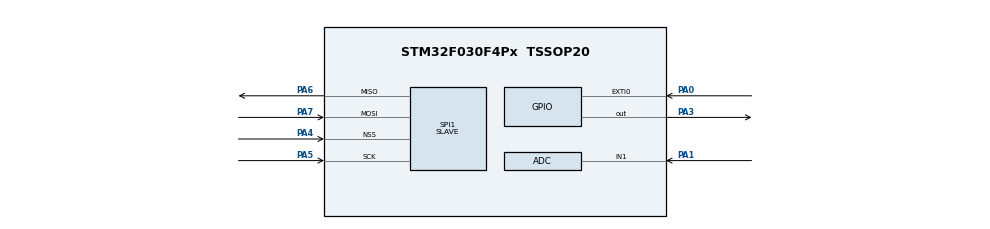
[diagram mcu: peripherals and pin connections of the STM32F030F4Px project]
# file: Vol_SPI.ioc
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ADC.DMAContinuousRequests=ENABLE
ADC.ExternalTrigConv=ADC_EXTERNALTRIGCONV_T1_TRGO
ADC.SamplingTime=ADC_SAMPLETIME_13CYCLES_5
Dma.ADC.0.Direction=DMA_PERIPH_TO_MEMORY
Dma.ADC.0.Instance=DMA1_Channel1
Dma.ADC.0.MemDataAlignment=DMA_MDATAALIGN_HALFWORD
Dma.ADC.0.MemInc=DMA_MINC_ENABLE
Dma.ADC.0.Mode=DMA_CIRCULAR
Dma.ADC.0.PeriphDataAlignment=DMA_PDATAALIGN_HALFWORD
Dma.ADC.0.PeriphInc=DMA_PINC_DISABLE
Dma.ADC.0.Priority=DMA_PRIORITY_LOW
Dma.Request0=ADC
Dma.Request1=SPI1_TX
Dma.Request2=SPI1_RX
Dma.SPI1_RX.2.Direction=DMA_PERIPH_TO_MEMORY
Dma.SPI1_RX.2.Instance=DMA1_Channel2
Dma.SPI1_RX.2.MemDataAlignment=DMA_MDATAALIGN_BYTE
Dma.SPI1_RX.2.MemInc=DMA_MINC_ENABLE
Dma.SPI1_RX.2.Mode=DMA_NORMAL
Dma.SPI1_RX.2.PeriphDataAlignment=DMA_PDATAALIGN_BYTE
Dma.SPI1_RX.2.PeriphInc=DMA_PINC_DISABLE
Dma.SPI1_RX.2.Priority=DMA_PRIORITY_LOW
Dma.SPI1_TX.1.Direction=DMA_MEMORY_TO_PERIPH
Dma.SPI1_TX.1.Instance=DMA1_Channel3
Dma.SPI1_TX.1.MemDataAlignment=DMA_MDATAALIGN_BYTE
Dma.SPI1_TX.1.MemInc=DMA_MINC_ENABLE
Dma.SPI1_TX.1.Mode=DMA_NORMAL
Dma.SPI1_TX.1.PeriphDataAlignment=DMA_PDATAALIGN_BYTE
Dma.SPI1_TX.1.PeriphInc=DMA_PINC_DISABLE
Dma.SPI1_TX.1.Priority=DMA_PRIORITY_LOW
Mcu.Family=STM32F0
Mcu.Name=STM32F030F4Px
Mcu.Package=TSSOP20
NVIC.DMA1_Channel1_IRQn=true\:0\:0\:false\:false\:true\:false\:true
NVIC.DMA1_Channel2_3_IRQn=true\:0\:0\:false\:false\:true\:false\:true
NVIC.EXTI0_1_IRQn=true\:0\:0\:false\:false\:true\:true\:true
NVIC.SPI1_IRQn=true\:0\:0\:false\:false\:true\:true\:true
PA0.GPIO_ModeDefaultEXTI=GPIO_MODE_IT_FALLING
PA0.Signal=GPXTI0
PA1.Mode=IN1
PA1.Signal=ADC_IN1
PA13.Mode=Serial_Wire
PA13.Signal=SYS_SWDIO
PA14.Mode=Serial_Wire
PA14.Signal=SYS_SWCLK
PA3.Signal=GPIO_Output
PA4.Mode=NSS_Signal_Hard_Input
PA4.Signal=SPI1_NSS
PA5.Mode=Full_Duplex_Slave
PA5.Signal=SPI1_SCK
PA6.Mode=Full_Duplex_Slave
PA6.Signal=SPI1_MISO
PA7.Mode=Full_Duplex_Slave
PA7.Signal=SPI1_MOSI
PF0-OSC_IN.Mode=HSE-External-Clock-Source
PF0-OSC_IN.Signal=RCC_OSC_IN
ProjectManager.HeapSize=0x200
ProjectManager.StackSize=0x400
ProjectManager.TargetToolchain=STM32CubeIDE
RCC.SYSCLKSource=RCC_SYSCLKSOURCE_HSE
SPI1.DataSize=SPI_DATASIZE_8BIT
SPI1.Direction=SPI_DIRECTION_2LINES
SPI1.Mode=SPI_MODE_SLAVE
SPI1.VirtualNSS=VM_NSSHARD
SPI1.VirtualType=VM_SLAVE
TIM1.Period=31
TIM1.Prescaler=99
TIM1.TIM_MasterOutputTrigger=TIM_TRGO_UPDATE
TIM1.TIM_MasterSlaveMode=TIM_MASTERSLAVEMODE_ENABLE
VP_TIM1_VS_ClockSourceINT.Mode=Internal
board=custom

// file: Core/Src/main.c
/* USER CODE BEGIN Header */
/**
  ******************************************************************************
  * @file           : main.c
  * @brief          : Main program body
  ******************************************************************************
  * @attention
  *
  * <h2><center>&copy; Copyright (c) 2025 STMicroelectronics.
  * All rights reserved.</center></h2>
  *
  * This software component is licensed by ST under BSD 3-Clause license,
  * the "License"; You may not use this file except in compliance with the
  * License. You may obtain a copy of the License at:
  *                        opensource.org/licenses/BSD-3-Clause
  *
  ******************************************************************************
  */
/* USER CODE END Header */
#include "main.h"

/* USER CODE BEGIN Includes */
#include <stdio.h>
#include <string.h>
#include <stdbool.h>

/* USER CODE END Includes */

/* USER CODE BEGIN PTD */
#define RING_SIZE        640
#define FRAME_SAMPLES   50
#define FRAME_BYTES     (1 + FRAME_SAMPLES * 2)
uint16_t adc_dma_buf[1];
/* ring buffer ADC */
volatile uint16_t ring[RING_SIZE];
volatile uint16_t head = 0;
volatile uint16_t tail = 0;
volatile uint16_t ring_count = 0;

volatile uint8_t spi_idle = 1;
/* SPI buffers (8-bit) */

uint8_t rx[FRAME_BYTES];

uint8_t tx[FRAME_BYTES];

volatile uint32_t ring_overwrite = 0;

/* USER CODE END PTD */

ADC_HandleTypeDef hadc;
DMA_HandleTypeDef hdma_adc;

SPI_HandleTypeDef hspi1;
DMA_HandleTypeDef hdma_spi1_tx;
DMA_HandleTypeDef hdma_spi1_rx;

TIM_HandleTypeDef htim1;

void SystemClock_Config(void);
static void MX_GPIO_Init(void);
static void MX_DMA_Init(void);
static void MX_ADC_Init(void);
static void MX_SPI1_Init(void);
static void MX_TIM1_Init(void);

/* USER CODE BEGIN 0 */
void HAL_GPIO_EXTI_Callback(uint16_t GPIO_Pin)
{
  /* Prevent unused argument(s) compilation warning */
  UNUSED(GPIO_Pin);
  if(GPIO_Pin == GPIO_PIN_0)
  	  {
  	  HAL_ADCEx_Calibration_Start(&hadc);
  	  HAL_ADC_Start_DMA(&hadc, (uint32_t*)adc_dma_buf, 1);
  	  HAL_TIM_Base_Start(&htim1);

  	  }

}

static inline void ring_push(uint16_t sample)
{
    uint16_t next = head + 1;
    if (next >= RING_SIZE) next = 0;

    ring[head] = sample;
    head = next;

    if (ring_count < RING_SIZE) {
        ring_count++;
    } else {
        tail++;
        if (tail >= RING_SIZE) tail = 0;
        ring_overwrite++;
    }
}

static inline bool ring_pop(uint16_t *out)
{
    if (ring_count == 0) return false;
    *out = ring[tail];
    tail++;
    if (tail >= RING_SIZE) tail = 0;
    ring_count--;
    return true;
}

void HAL_ADC_ConvCpltCallback(ADC_HandleTypeDef* hadc){
		ring_push(adc_dma_buf[0]);

}

void HAL_SPI_TxRxCpltCallback(SPI_HandleTypeDef *hspi){
	 uint16_t s;
	 if (ring_pop(&s)) {
		 tx[0] = (uint8_t)(s & 0xFF);
		 tx[1] = (uint8_t)(s >> 8);
	 }
	 else {
		 tx[0] = 0;
		 tx[1] = 0;
	 }
	 HAL_SPI_TransmitReceive_DMA(&hspi1, tx, rx, 2);

}

/* USER CODE END 0 */

int main(void)
{

  /* MCU Configuration--------------------------------------------------------*/

  /* Reset of all peripherals, Initializes the Flash interface and the Systick. */
  HAL_Init();

  /* Configure the system clock */
  SystemClock_Config();

  /* Initialize all configured peripherals */
  MX_GPIO_Init();
  MX_DMA_Init();
  MX_ADC_Init();
  MX_SPI1_Init();
  MX_TIM1_Init();
  /* USER CODE BEGIN 2 */

  tx[0] = 0;

  /* ARM SPI SLAVE ONCE */
  HAL_SPI_TransmitReceive_DMA(&hspi1, tx, rx, 2);

  /* USER CODE END 2 */

  /* Infinite loop */
  while (1)
  {

  }
}

void SystemClock_Config(void)
{
  RCC_OscInitTypeDef RCC_OscInitStruct = {0};
  RCC_ClkInitTypeDef RCC_ClkInitStruct = {0};

  /** Initializes the RCC Oscillators according to the specified parameters
  * in the RCC_OscInitTypeDef structure.
  */
  RCC_OscInitStruct.OscillatorType = RCC_OSCILLATORTYPE_HSI14|RCC_OSCILLATORTYPE_HSE;
  RCC_OscInitStruct.HSEState = RCC_HSE_BYPASS;
  RCC_OscInitStruct.HSI14State = RCC_HSI14_ON;
  RCC_OscInitStruct.HSI14CalibrationValue = 16;
  RCC_OscInitStruct.PLL.PLLState = RCC_PLL_NONE;
  if (HAL_RCC_OscConfig(&RCC_OscInitStruct) != HAL_OK)
  {
    Error_Handler();
  }
  /** Initializes the CPU, AHB and APB buses clocks
  */
  RCC_ClkInitStruct.ClockType = RCC_CLOCKTYPE_HCLK|RCC_CLOCKTYPE_SYSCLK
                              |RCC_CLOCKTYPE_PCLK1;
  RCC_ClkInitStruct.SYSCLKSource = RCC_SYSCLKSOURCE_HSE;
  RCC_ClkInitStruct.AHBCLKDivider = RCC_SYSCLK_DIV1;
  RCC_ClkInitStruct.APB1CLKDivider = RCC_HCLK_DIV1;

  if (HAL_RCC_ClockConfig(&RCC_ClkInitStruct, FLASH_LATENCY_0) != HAL_OK)
  {
    Error_Handler();
  }
}

static void MX_ADC_Init(void)
{

  ADC_ChannelConfTypeDef sConfig = {0};

  /** Configure the global features of the ADC (Clock, Resolution, Data Alignment and number of conversion)
  */
  hadc.Instance = ADC1;
  hadc.Init.ClockPrescaler = ADC_CLOCK_ASYNC_DIV1;
  hadc.Init.Resolution = ADC_RESOLUTION_12B;
  hadc.Init.DataAlign = ADC_DATAALIGN_RIGHT;
  hadc.Init.ScanConvMode = ADC_SCAN_DIRECTION_FORWARD;
  hadc.Init.EOCSelection = ADC_EOC_SINGLE_CONV;
  hadc.Init.LowPowerAutoWait = DISABLE;
  hadc.Init.LowPowerAutoPowerOff = DISABLE;
  hadc.Init.ContinuousConvMode = DISABLE;
  hadc.Init.DiscontinuousConvMode = DISABLE;
  hadc.Init.ExternalTrigConv = ADC_EXTERNALTRIGCONV_T1_TRGO;
  hadc.Init.ExternalTrigConvEdge = ADC_EXTERNALTRIGCONVEDGE_RISING;
  hadc.Init.DMAContinuousRequests = ENABLE;
  hadc.Init.Overrun = ADC_OVR_DATA_PRESERVED;
  if (HAL_ADC_Init(&hadc) != HAL_OK)
  {
    Error_Handler();
  }
  /** Configure for the selected ADC regular channel to be converted.
  */
  sConfig.Channel = ADC_CHANNEL_1;
  sConfig.Rank = ADC_RANK_CHANNEL_NUMBER;
  sConfig.SamplingTime = ADC_SAMPLETIME_13CYCLES_5;
  if (HAL_ADC_ConfigChannel(&hadc, &sConfig) != HAL_OK)
  {
    Error_Handler();
  }

}

static void MX_SPI1_Init(void)
{

  /* SPI1 parameter configuration*/
  hspi1.Instance = SPI1;
  hspi1.Init.Mode = SPI_MODE_SLAVE;
  hspi1.Init.Direction = SPI_DIRECTION_2LINES;
  hspi1.Init.DataSize = SPI_DATASIZE_8BIT;
  hspi1.Init.CLKPolarity = SPI_POLARITY_LOW;
  hspi1.Init.CLKPhase = SPI_PHASE_1EDGE;
  hspi1.Init.NSS = SPI_NSS_HARD_INPUT;
  hspi1.Init.FirstBit = SPI_FIRSTBIT_MSB;
  hspi1.Init.TIMode = SPI_TIMODE_DISABLE;
  hspi1.Init.CRCCalculation = SPI_CRCCALCULATION_DISABLE;
  hspi1.Init.CRCPolynomial = 7;
  hspi1.Init.CRCLength = SPI_CRC_LENGTH_DATASIZE;
  hspi1.Init.NSSPMode = SPI_NSS_PULSE_DISABLE;
  if (HAL_SPI_Init(&hspi1) != HAL_OK)
  {
    Error_Handler();
  }

}

static void MX_TIM1_Init(void)
{

  TIM_ClockConfigTypeDef sClockSourceConfig = {0};
  TIM_MasterConfigTypeDef sMasterConfig = {0};

  htim1.Instance = TIM1;
  htim1.Init.Prescaler = 99;
  htim1.Init.CounterMode = TIM_COUNTERMODE_UP;
  htim1.Init.Period = 31;
  htim1.Init.ClockDivision = TIM_CLOCKDIVISION_DIV1;
  htim1.Init.RepetitionCounter = 0;
  htim1.Init.AutoReloadPreload = TIM_AUTORELOAD_PRELOAD_DISABLE;
  if (HAL_TIM_Base_Init(&htim1) != HAL_OK)
  {
    Error_Handler();
  }
  sClockSourceConfig.ClockSource = TIM_CLOCKSOURCE_INTERNAL;
  if (HAL_TIM_ConfigClockSource(&htim1, &sClockSourceConfig) != HAL_OK)
  {
    Error_Handler();
  }
  sMasterConfig.MasterOutputTrigger = TIM_TRGO_UPDATE;
  sMasterConfig.MasterSlaveMode = TIM_MASTERSLAVEMODE_ENABLE;
  if (HAL_TIMEx_MasterConfigSynchronization(&htim1, &sMasterConfig) != HAL_OK)
  {
    Error_Handler();
  }

}

static void MX_DMA_Init(void)
{

  /* DMA controller clock enable */
  __HAL_RCC_DMA1_CLK_ENABLE();

  /* DMA interrupt init */
  /* DMA1_Channel1_IRQn interrupt configuration */
  HAL_NVIC_SetPriority(DMA1_Channel1_IRQn, 0, 0);
  HAL_NVIC_EnableIRQ(DMA1_Channel1_IRQn);
  /* DMA1_Channel2_3_IRQn interrupt configuration */
  HAL_NVIC_SetPriority(DMA1_Channel2_3_IRQn, 0, 0);
  HAL_NVIC_EnableIRQ(DMA1_Channel2_3_IRQn);

}

static void MX_GPIO_Init(void)
{
  GPIO_InitTypeDef GPIO_InitStruct = {0};

  /* GPIO Ports Clock Enable */
  __HAL_RCC_GPIOF_CLK_ENABLE();
  __HAL_RCC_GPIOA_CLK_ENABLE();

  /*Configure GPIO pin Output Level */
  HAL_GPIO_WritePin(GPIOA, GPIO_PIN_3, GPIO_PIN_RESET);

  /*Configure GPIO pin : PA0 */
  GPIO_InitStruct.Pin = GPIO_PIN_0;
  GPIO_InitStruct.Mode = GPIO_MODE_IT_FALLING;
  GPIO_InitStruct.Pull = GPIO_NOPULL;
  HAL_GPIO_Init(GPIOA, &GPIO_InitStruct);

  /*Configure GPIO pin : PA3 */
  GPIO_InitStruct.Pin = GPIO_PIN_3;
  GPIO_InitStruct.Mode = GPIO_MODE_OUTPUT_PP;
  GPIO_InitStruct.Pull = GPIO_NOPULL;
  GPIO_InitStruct.Speed = GPIO_SPEED_FREQ_LOW;
  HAL_GPIO_Init(GPIOA, &GPIO_InitStruct);

  /* EXTI interrupt init*/
  HAL_NVIC_SetPriority(EXTI0_1_IRQn, 0, 0);
  HAL_NVIC_EnableIRQ(EXTI0_1_IRQn);

}

void Error_Handler(void)
{
  __disable_irq();
  while (1)
  {
  }
}

/************************ (C) COPYRIGHT STMicroelectronics *****END OF FILE****/
